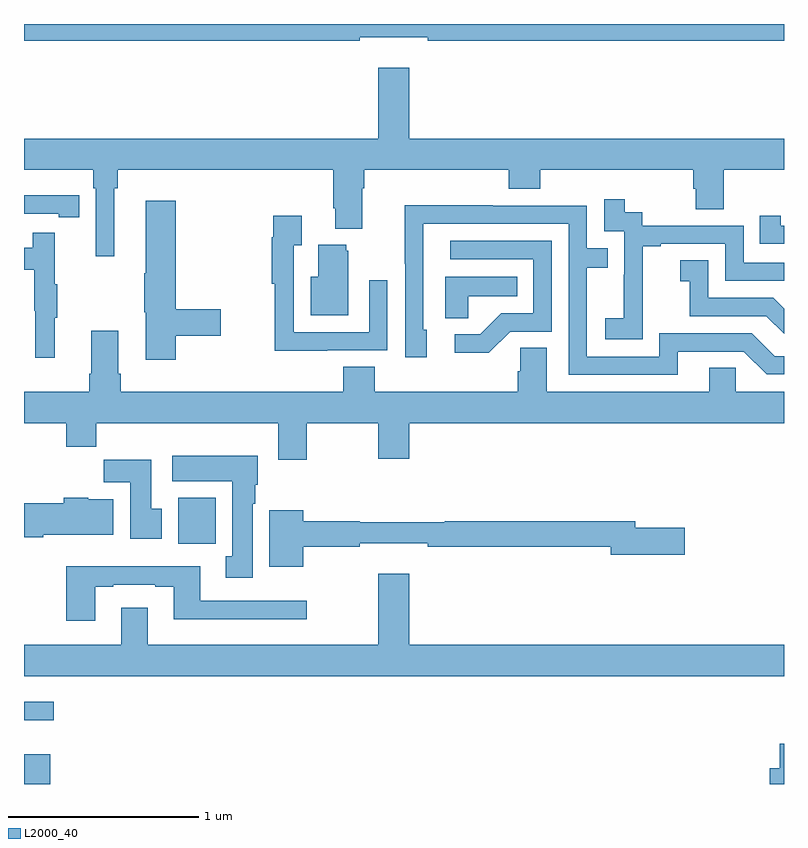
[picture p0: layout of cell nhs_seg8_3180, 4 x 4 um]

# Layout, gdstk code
import gdstk
lib = gdstk.Library(unit=1e-6, precision=1e-09)
def R(c, l, rs):  # rectangles x0, y0, x1, y1
    for r in rs: c.add(gdstk.rectangle(r[:2], r[2:], *l))
def P(c, l, *ps):  # polygons
    for p in ps: c.add(gdstk.Polygon(p, *l))
L2000_40 = (2000, 40)

nhs_seg8_3180 = lib.new_cell('nhs_seg8_3180')
R(nhs_seg8_3180, L2000_40, [(307,1147.9,307.138,1148.056), (307,1148.235,307.156,1148.332), (307.811,1149.164,308.008,1149.406)])
P(nhs_seg8_3180, L2000_40, [(308.768,1151.831),(309.124,1151.831),(309.124,1151.812),(311,1151.812),(311,1151.9),(307,1151.9),(307,1151.812),(308.768,1151.812)],
  [(307.474,1151.036),(307.493,1151.036),(307.493,1151.132),(308.627,1151.132),(308.627,1150.93),(308.639,1150.93),(308.639,1150.823),(308.779,1150.823),(308.779,1151.036),(308.792,1151.036),(308.792,1151.132),(309.551,1151.132),(309.551,1151.033),(309.716,1151.033),(309.716,1151.132),(310.523,1151.132),(310.523,1151.034),(310.535,1151.034),(310.535,1150.924),(310.683,1150.924),(310.683,1151.132),(311,1151.132),(311,1151.296),(309.028,1151.296),(309.028,1151.671),(308.864,1151.671),(308.864,1151.296),(307,1151.296),(307,1151.132),(307.364,1151.132),(307.364,1151.036),(307.377,1151.036),(307.377,1150.677),(307.474,1150.677)],
  [(307.292,1150.998),(307.184,1150.998),(307.184,1150.999),(307,1150.999),(307,1150.902),(307.184,1150.902),(307.184,1150.882),(307.292,1150.882)],
  [(310.257,1150.447),(310.256,1150.447),(310.256,1150.731),(310.351,1150.731),(310.351,1150.743),(310.692,1150.743),(310.692,1150.548),(311,1150.548),(311,1150.644),(310.788,1150.644),(310.788,1150.839),(310.254,1150.839),(310.254,1150.908),(310.162,1150.908),(310.162,1150.978),(310.053,1150.978),(310.053,1150.809),(310.158,1150.809),(310.158,1150.58),(310.157,1150.58),(310.157,1150.351),(310.059,1150.351),(310.059,1150.241),(310.257,1150.241)],
  [(307.799,1150.258),(308.035,1150.258),(308.035,1150.4),(307.799,1150.4),(307.799,1150.969),(307.64,1150.969),(307.64,1150.589),(307.633,1150.589),(307.633,1150.383),(307.64,1150.383),(307.64,1150.134),(307.799,1150.134)],
  [(310.441,1150.176),(310.788,1150.176),(310.908,1150.056),(311,1150.056),(311,1150.152),(310.95,1150.152),(310.83,1150.272),(310.344,1150.272),(310.344,1150.149),(309.963,1150.149),(309.963,1150.618),(310.073,1150.618),(310.073,1150.719),(309.963,1150.719),(309.963,1150.944),(309.467,1150.944),(309.467,1150.946),(309.004,1150.946),(309.004,1150.639),(309.006,1150.639),(309.006,1150.146),(309.121,1150.146),(309.121,1150.29),(309.102,1150.29),(309.102,1150.848),(309.867,1150.848),(309.867,1150.053),(310.441,1150.053)],
  [(311,1150.839),(310.984,1150.839),(310.984,1150.891),(310.873,1150.891),(310.873,1150.743),(311,1150.743)],
  [(308.597,1150.182),(308.913,1150.182),(308.913,1150.552),(308.817,1150.552),(308.817,1150.278),(308.421,1150.278),(308.421,1150.735),(308.461,1150.735),(308.461,1150.891),(308.313,1150.891),(308.313,1150.778),(308.305,1150.778),(308.305,1150.532),(308.32,1150.532),(308.32,1150.181),(308.597,1150.181)],
  [(307.163,1150.355),(307.174,1150.355),(307.174,1150.529),(307.163,1150.529),(307.163,1150.801),(307.045,1150.801),(307.045,1150.722),(307,1150.722),(307,1150.606),(307.053,1150.606),(307.053,1150.392),(307.06,1150.392),(307.06,1150.143),(307.163,1150.143)],
  [(309.558,1150.281),(309.777,1150.281),(309.777,1150.758),(309.243,1150.758),(309.243,1150.662),(309.681,1150.662),(309.681,1150.377),(309.512,1150.377),(309.401,1150.266),(309.267,1150.266),(309.267,1150.169),(309.445,1150.169)],
  [(308.707,1150.707),(308.696,1150.707),(308.696,1150.738),(308.549,1150.738),(308.549,1150.57),(308.51,1150.57),(308.51,1150.367),(308.707,1150.367)],
  [(311,1150.402),(310.944,1150.458),(310.602,1150.458),(310.602,1150.657),(310.455,1150.657),(310.455,1150.547),(310.504,1150.547),(310.504,1150.362),(310.907,1150.362),(311,1150.269)],
  [(309.339,1150.466),(309.596,1150.466),(309.596,1150.57),(309.218,1150.57),(309.218,1150.351),(309.339,1150.351)],
  [(308.487,1149.8),(308.864,1149.8),(308.864,1149.612),(309.028,1149.612),(309.028,1149.8),(311,1149.8),(311,1149.964),(310.746,1149.964),(310.746,1150.091),(310.607,1150.091),(310.607,1149.964),(309.751,1149.964),(309.751,1150.196),(309.612,1150.196),(309.612,1150.073),(309.599,1150.073),(309.599,1149.964),(308.846,1149.964),(308.846,1150.097),(308.681,1150.097),(308.681,1149.964),(307.508,1149.964),(307.508,1150.06),(307.495,1150.06),(307.495,1150.285),(307.355,1150.285),(307.355,1150.06),(307.343,1150.06),(307.343,1149.964),(307,1149.964),(307,1149.8),(307.223,1149.8),(307.223,1149.676),(307.379,1149.676),(307.379,1149.8),(308.339,1149.8),(308.339,1149.606),(308.487,1149.606)],
  [(308.203,1149.374),(308.218,1149.374),(308.218,1149.474),(308.23,1149.474),(308.23,1149.628),(307.779,1149.628),(307.779,1149.494),(308.096,1149.494),(308.096,1149.098),(308.063,1149.098),(308.063,1148.985),(308.203,1148.985)],
  [(307.726,1149.348),(307.669,1149.348),(307.669,1149.607),(307.42,1149.607),(307.42,1149.488),(307.559,1149.488),(307.559,1149.192),(307.726,1149.192)],
  [(307.102,1149.212),(307.471,1149.212),(307.471,1149.4),(307.338,1149.4),(307.338,1149.406),(307.208,1149.406),(307.208,1149.378),(307,1149.378),(307,1149.2),(307.102,1149.2)],
  [(308.47,1149.148),(308.768,1149.148),(308.768,1149.167),(309.124,1149.167),(309.124,1149.148),(310.088,1149.148),(310.088,1149.106),(310.477,1149.106),(310.477,1149.248),(310.216,1149.248),(310.216,1149.284),(309.215,1149.284),(309.215,1149.277),(308.766,1149.277),(308.766,1149.284),(308.47,1149.284),(308.47,1149.34),(308.291,1149.34),(308.291,1149.044),(308.47,1149.044)],
  [(307.375,1148.937),(307.471,1148.937),(307.471,1148.949),(307.691,1148.949),(307.691,1148.937),(307.787,1148.937),(307.787,1148.768),(308.488,1148.768),(308.488,1148.865),(307.927,1148.865),(307.927,1149.046),(307.223,1149.046),(307.223,1148.76),(307.375,1148.76)],
  [(311,1148.632),(309.028,1148.632),(309.028,1149.007),(308.864,1149.007),(308.864,1148.632),(307.651,1148.632),(307.651,1148.827),(307.511,1148.827),(307.511,1148.632),(307,1148.632),(307,1148.468),(311,1148.468)],
  [(311,1148.112),(310.977,1148.112),(310.977,1147.984),(310.925,1147.984),(310.925,1147.9),(311,1147.9)])

lib.write_gds('nhs_seg8_3180.gds')
